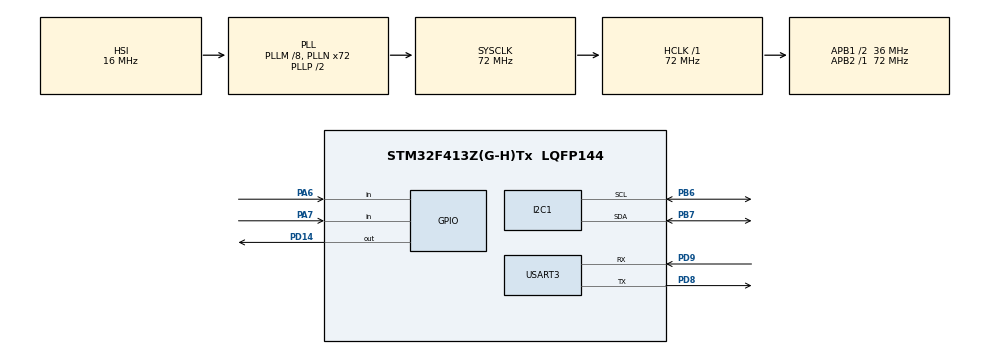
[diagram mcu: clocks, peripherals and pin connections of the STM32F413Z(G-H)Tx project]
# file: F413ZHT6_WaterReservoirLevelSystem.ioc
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FREERTOS.INCLUDE_vTaskDelayUntil=1
FREERTOS.Queues01=myQueue,16,uint16_t,0,Dynamic,NULL,NULL
FREERTOS.Tasks01=defaultTask,0,128,StartDefaultTask,Default,NULL,Dynamic,NULL,NULL
FREERTOS.configUSE_NEWLIB_REENTRANT=1
Mcu.Family=STM32F4
Mcu.Name=STM32F413Z(G-H)Tx
Mcu.Package=LQFP144
NVIC.PriorityGroup=NVIC_PRIORITYGROUP_4
NVIC.TIM6_DAC_IRQn=true\:15\:0\:false\:false\:true\:false\:false\:true\:true
NVIC.TimeBase=TIM6_DAC_IRQn
NVIC.TimeBaseIP=TIM6
PA13.Mode=Serial_Wire
PA13.Signal=SYS_JTMS-SWDIO
PA14.Mode=Serial_Wire
PA14.Signal=SYS_JTCK-SWCLK
PA6.Signal=GPIO_Input
PA7.Signal=GPIO_Input
PB6.Mode=I2C
PB6.Signal=I2C1_SCL
PB7.Mode=I2C
PB7.Signal=I2C1_SDA
PD14.Signal=GPIO_Output
PD8.Mode=Asynchronous
PD8.Signal=USART3_TX
PD9.Mode=Asynchronous
PD9.Signal=USART3_RX
PH0\ -\ OSC_IN.Mode=HSE-External-Oscillator
PH0\ -\ OSC_IN.Signal=RCC_OSC_IN
PH1\ -\ OSC_OUT.Mode=HSE-External-Oscillator
PH1\ -\ OSC_OUT.Signal=RCC_OSC_OUT
ProjectManager.HeapSize=0x200
ProjectManager.StackSize=0x400
ProjectManager.TargetToolchain=STM32CubeIDE
RCC.AHBFreq_Value=72000000
RCC.APB1CLKDivider=RCC_HCLK_DIV2
RCC.APB1Freq_Value=36000000
RCC.APB1TimFreq_Value=72000000
RCC.APB2Freq_Value=72000000
RCC.APB2TimFreq_Value=72000000
RCC.CortexFreq_Value=72000000
RCC.HCLKFreq_Value=72000000
RCC.PLLM=8
RCC.PLLN=72
RCC.SYSCLKFreq_VALUE=72000000
RCC.SYSCLKSource=RCC_SYSCLKSOURCE_PLLCLK
RCC.USBFreq_Value=72000000
RCC.VCOOutputFreq_Value=144000000
TIM1.Period=0xffff-1
TIM1.Prescaler=72-1
USART3.VirtualMode=VM_ASYNC
VP_FREERTOS_VS_CMSIS_V1.Mode=CMSIS_V1
VP_SYS_VS_tim6.Mode=TIM6
VP_TIM1_VS_ClockSourceINT.Mode=Internal
board=custom

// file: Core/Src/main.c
/* USER CODE BEGIN Header */
/**
  ******************************************************************************
  * @file           : main.c
  * @brief          : Main program body
  ******************************************************************************
  * @attention
  *
  * Copyright (c) 2022 STMicroelectronics.
  * All rights reserved.
  *
  * This software is licensed under terms that can be found in the LICENSE file
  * in the root directory of this software component.
  * If no LICENSE file comes with this software, it is provided AS-IS.
  *
  ******************************************************************************
  */
/* USER CODE END Header */
#include "main.h"
#include "cmsis_os.h"

/* USER CODE BEGIN Includes */
#include "stdio.h"
#include "time.h"
#include "stdlib.h"
#include "math.h"
/* USER CODE END Includes */

I2C_HandleTypeDef hi2c1;

TIM_HandleTypeDef htim1;

UART_HandleTypeDef huart3;

osThreadId defaultTaskHandle;
osMessageQId myQueueHandle;
/* USER CODE BEGIN PV */
#define TRIG_PIN GPIO_PIN_14
#define TRIG_PORT GPIOD
#define ECHO_PIN GPIO_PIN_7
#define ECHO_PORT GPIOA
#define Input_Pin GPIO_PIN_6
#define Input_Port GPIOA
uint32_t pMillis;
uint32_t Value3 = 0;
uint16_t Pulse_Count = 0;
uint32_t pMillis;
uint32_t Value1 = 0;
uint32_t Value2 = 0;
uint16_t Distance  = 0; // cm
char strCopy[15];
/* USER CODE END PV */

void SystemClock_Config(void);
static void MX_GPIO_Init(void);
static void MX_I2C1_Init(void);
static void MX_TIM1_Init(void);
static void MX_USART3_UART_Init(void);
void StartDefaultTask(void const * argument);

/* USER CODE BEGIN PFP */
#define BUFF_SZ 10
/* USER CODE END PFP */

/* USER CODE BEGIN 0 */
unsigned int USSevent_flag = 0;

int _write(int file, char *ptr, int len)
{
	/* Implement the write code here*/
	int i=0;
	for(i=0 ; i<len ; i++)
		ITM_SendChar((*ptr++));
	return len;
}

uint8_t indx = 0;

// define task handler
osThreadId WFSTaskhandler;
osThreadId USSTaskhandler;
osThreadId CommTaskhandler;

//define the entry function
void WFSTask_init (void const * argument);
void USSTask_init (void const * argument);
void CommTask_init (void const * argument);

/* USER CODE END 0 */

int main(void)
{

  /* MCU Configuration--------------------------------------------------------*/

  /* Reset of all peripherals, Initializes the Flash interface and the Systick. */
  HAL_Init();

  /* Configure the system clock */
  SystemClock_Config();

  /* Initialize all configured peripherals */
  MX_GPIO_Init();
  MX_I2C1_Init();
  MX_TIM1_Init();
  MX_USART3_UART_Init();
  /* USER CODE BEGIN 2 */
  printf("starting....\n");
  HAL_TIM_Base_Start(&htim1);
  HAL_GPIO_WritePin(TRIG_PORT, TRIG_PIN, GPIO_PIN_RESET);
  /* USER CODE END 2 */

  /* Create the queue(s) */
  /* definition and creation of myQueue */
  osMessageQDef(myQueue, 16, uint16_t);
  myQueueHandle = osMessageCreate(osMessageQ(myQueue), NULL);

  /* Create the thread(s) */
  /* definition and creation of defaultTask */
  osThreadDef(defaultTask, StartDefaultTask, osPriorityNormal, 0, 128);
  defaultTaskHandle = osThreadCreate(osThread(defaultTask), NULL);

  /* USER CODE BEGIN RTOS_THREADS */
  /* add threads, ... */

  // define the thread
  osThreadDef(WFSTask, WFSTask_init, osPriorityNormal, 0, 128);
  osThreadDef(USSTask, USSTask_init, osPriorityNormal, 0, 128);
  osThreadDef(CommsTask, CommTask_init, osPriorityNormal, 0, 128);

  // create thread and assign ID
  WFSTaskhandler = osThreadCreate(osThread(WFSTask), NULL);
  USSTaskhandler = osThreadCreate(osThread(USSTask), NULL);
  CommTaskhandler = osThreadCreate(osThread(CommsTask), NULL);

  /* USER CODE END RTOS_THREADS */

  /* Start scheduler */
  osKernelStart();

  /* We should never get here as control is now taken by the scheduler */
  /* Infinite loop */
  while (1)
  {

  }
}

void SystemClock_Config(void)
{
  RCC_OscInitTypeDef RCC_OscInitStruct = {0};
  RCC_ClkInitTypeDef RCC_ClkInitStruct = {0};

  /** Configure the main internal regulator output voltage
  */
  __HAL_RCC_PWR_CLK_ENABLE();
  __HAL_PWR_VOLTAGESCALING_CONFIG(PWR_REGULATOR_VOLTAGE_SCALE1);

  /** Initializes the RCC Oscillators according to the specified parameters
  * in the RCC_OscInitTypeDef structure.
  */
  RCC_OscInitStruct.OscillatorType = RCC_OSCILLATORTYPE_HSI;
  RCC_OscInitStruct.HSIState = RCC_HSI_ON;
  RCC_OscInitStruct.HSICalibrationValue = RCC_HSICALIBRATION_DEFAULT;
  RCC_OscInitStruct.PLL.PLLState = RCC_PLL_ON;
  RCC_OscInitStruct.PLL.PLLSource = RCC_PLLSOURCE_HSI;
  RCC_OscInitStruct.PLL.PLLM = 8;
  RCC_OscInitStruct.PLL.PLLN = 72;
  RCC_OscInitStruct.PLL.PLLP = RCC_PLLP_DIV2;
  RCC_OscInitStruct.PLL.PLLQ = 2;
  RCC_OscInitStruct.PLL.PLLR = 2;
  if (HAL_RCC_OscConfig(&RCC_OscInitStruct) != HAL_OK)
  {
    Error_Handler();
  }

  /** Initializes the CPU, AHB and APB buses clocks
  */
  RCC_ClkInitStruct.ClockType = RCC_CLOCKTYPE_HCLK|RCC_CLOCKTYPE_SYSCLK
                              |RCC_CLOCKTYPE_PCLK1|RCC_CLOCKTYPE_PCLK2;
  RCC_ClkInitStruct.SYSCLKSource = RCC_SYSCLKSOURCE_PLLCLK;
  RCC_ClkInitStruct.AHBCLKDivider = RCC_SYSCLK_DIV1;
  RCC_ClkInitStruct.APB1CLKDivider = RCC_HCLK_DIV2;
  RCC_ClkInitStruct.APB2CLKDivider = RCC_HCLK_DIV1;

  if (HAL_RCC_ClockConfig(&RCC_ClkInitStruct, FLASH_LATENCY_2) != HAL_OK)
  {
    Error_Handler();
  }
}

static void MX_I2C1_Init(void)
{

  hi2c1.Instance = I2C1;
  hi2c1.Init.ClockSpeed = 100000;
  hi2c1.Init.DutyCycle = I2C_DUTYCYCLE_2;
  hi2c1.Init.OwnAddress1 = 0;
  hi2c1.Init.AddressingMode = I2C_ADDRESSINGMODE_7BIT;
  hi2c1.Init.DualAddressMode = I2C_DUALADDRESS_DISABLE;
  hi2c1.Init.OwnAddress2 = 0;
  hi2c1.Init.GeneralCallMode = I2C_GENERALCALL_DISABLE;
  hi2c1.Init.NoStretchMode = I2C_NOSTRETCH_DISABLE;
  if (HAL_I2C_Init(&hi2c1) != HAL_OK)
  {
    Error_Handler();
  }

}

static void MX_TIM1_Init(void)
{

  TIM_ClockConfigTypeDef sClockSourceConfig = {0};
  TIM_MasterConfigTypeDef sMasterConfig = {0};

  htim1.Instance = TIM1;
  htim1.Init.Prescaler = 72-1;
  htim1.Init.CounterMode = TIM_COUNTERMODE_UP;
  htim1.Init.Period = 0xffff-1;
  htim1.Init.ClockDivision = TIM_CLOCKDIVISION_DIV1;
  htim1.Init.RepetitionCounter = 0;
  htim1.Init.AutoReloadPreload = TIM_AUTORELOAD_PRELOAD_DISABLE;
  if (HAL_TIM_Base_Init(&htim1) != HAL_OK)
  {
    Error_Handler();
  }
  sClockSourceConfig.ClockSource = TIM_CLOCKSOURCE_INTERNAL;
  if (HAL_TIM_ConfigClockSource(&htim1, &sClockSourceConfig) != HAL_OK)
  {
    Error_Handler();
  }
  sMasterConfig.MasterOutputTrigger = TIM_TRGO_RESET;
  sMasterConfig.MasterSlaveMode = TIM_MASTERSLAVEMODE_DISABLE;
  if (HAL_TIMEx_MasterConfigSynchronization(&htim1, &sMasterConfig) != HAL_OK)
  {
    Error_Handler();
  }

}

static void MX_USART3_UART_Init(void)
{

  huart3.Instance = USART3;
  huart3.Init.BaudRate = 115200;
  huart3.Init.WordLength = UART_WORDLENGTH_8B;
  huart3.Init.StopBits = UART_STOPBITS_1;
  huart3.Init.Parity = UART_PARITY_NONE;
  huart3.Init.Mode = UART_MODE_TX_RX;
  huart3.Init.HwFlowCtl = UART_HWCONTROL_NONE;
  huart3.Init.OverSampling = UART_OVERSAMPLING_16;
  if (HAL_UART_Init(&huart3) != HAL_OK)
  {
    Error_Handler();
  }

}

static void MX_GPIO_Init(void)
{
  GPIO_InitTypeDef GPIO_InitStruct = {0};

  /* GPIO Ports Clock Enable */
  __HAL_RCC_GPIOH_CLK_ENABLE();
  __HAL_RCC_GPIOA_CLK_ENABLE();
  __HAL_RCC_GPIOD_CLK_ENABLE();
  __HAL_RCC_GPIOB_CLK_ENABLE();

  /*Configure GPIO pin Output Level */
  HAL_GPIO_WritePin(GPIOD, GPIO_PIN_14, GPIO_PIN_RESET);

  /*Configure GPIO pins : PA6 PA7 */
  GPIO_InitStruct.Pin = GPIO_PIN_6|GPIO_PIN_7;
  GPIO_InitStruct.Mode = GPIO_MODE_INPUT;
  GPIO_InitStruct.Pull = GPIO_NOPULL;
  HAL_GPIO_Init(GPIOA, &GPIO_InitStruct);

  /*Configure GPIO pin : PD14 */
  GPIO_InitStruct.Pin = GPIO_PIN_14;
  GPIO_InitStruct.Mode = GPIO_MODE_OUTPUT_PP;
  GPIO_InitStruct.Pull = GPIO_NOPULL;
  GPIO_InitStruct.Speed = GPIO_SPEED_FREQ_LOW;
  HAL_GPIO_Init(GPIOD, &GPIO_InitStruct);

}

void StartDefaultTask(void const * argument)
{
  /* USER CODE BEGIN 5 */
  /* Infinite loop */
  for(;;)
  {
	  printf("DefaultTask\n");
    osDelay(1000);
  }
  /* USER CODE END 5 */
}

void USSTask_init(void const * argument)
{
  /* USER CODE BEGIN 5 */
  /* Infinite loop */
  for(;;)
  {
	  if(USSevent_flag == 1){
	  	HAL_GPIO_WritePin(TRIG_PORT, TRIG_PIN, GPIO_PIN_SET);  // pull the TRIG pin HIGH
	  	__HAL_TIM_SET_COUNTER(&htim1, 0);
	  	while (__HAL_TIM_GET_COUNTER (&htim1) < 20);  // wait for 20 us
	  	HAL_GPIO_WritePin(TRIG_PORT, TRIG_PIN, GPIO_PIN_RESET);  // pull the TRIG pin low

	  	pMillis = HAL_GetTick(); // used this to avoid infinite while loop  (for timeout)
	  	 // wait for the echo pin to go high
	  	while (!(HAL_GPIO_ReadPin (ECHO_PORT, ECHO_PIN)) && pMillis + 10 >  HAL_GetTick());
	  	Value1 = __HAL_TIM_GET_COUNTER (&htim1);

	  	pMillis = HAL_GetTick(); // used this to avoid infinite while loop (for timeout)
	  	 // wait for the echo pin to go low
	  	while ((HAL_GPIO_ReadPin (ECHO_PORT, ECHO_PIN)) && pMillis + 50 > HAL_GetTick());
	  	Value2 = __HAL_TIM_GET_COUNTER (&htim1);

	  	Distance = (Value2-Value1)* 0.034/2;
	  	osMessagePut(myQueueHandle, Distance, 1000);

	  	USSevent_flag = USSevent_flag ^ 1;
	  }
		taskYIELD();

  }
  /* USER CODE END 5 */
}
void WFSTask_init(void const * argument)
{
  /* USER CODE BEGIN 5 */
	TickType_t tickCount;
	TickType_t frequency = 2000;
	tickCount = xTaskGetTickCount();

  /* Infinite loop */
  for(;;)
  {
	 for(;;)
	  {
	   GPIO_PinState Value3 = HAL_GPIO_ReadPin(Input_Port, Input_Pin);
	   osDelay(1000);
	   GPIO_PinState Value4 = HAL_GPIO_ReadPin(Input_Port, Input_Pin);
	   if(Value3 != Value4){
	  	   USSevent_flag = USSevent_flag | 1;
	  	   break;
	  }
	 }
	  vTaskDelayUntil( &tickCount, frequency );
  }
  /* USER CODE END 5 */
}
void CommTask_init(void const * argument)
{
  /* USER CODE BEGIN 5 */
  /* Infinite loop */
	osEvent readState;
	uint8_t msg[BUFF_SZ] = {0};
	uint8_t padding[BUFF_SZ] = {0};
	char padding_character = '0';
  for(;;)
  {
	readState = osMessageGet(myQueueHandle, osWaitForever);
	if(readState.status == osEventMessage){
		int r = (int)readState.value.v;
		int l = (r == 0)? 1 : log10(r)+1;
		sprintf ((char *)msg, "%s%i\r\n", (char *)memset(padding, padding_character, BUFF_SZ -l), r);
		HAL_UART_Transmit(&huart3, msg, sizeof(msg), 100);
	}
	HAL_Delay(2000);
	memset(padding, 0, BUFF_SZ);
  }
  /* USER CODE END 5 */
}
void HAL_TIM_PeriodElapsedCallback(TIM_HandleTypeDef *htim)
{
  if (htim->Instance == TIM6) {
    HAL_IncTick();
  }
}

void Error_Handler(void)
{
  __disable_irq();
  while (1)
  {
  }
}

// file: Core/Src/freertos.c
/* USER CODE BEGIN Header */
/**
 ******************************************************************************
 * File Name          : freertos.c
 * Description        : Code for freertos applications
 ******************************************************************************
 * @attention
 *
 * Copyright (c) 2022 STMicroelectronics.
 * All rights reserved.
 *
 * This software is licensed under terms that can be found in the LICENSE file
 * in the root directory of this software component.
 * If no LICENSE file comes with this software, it is provided AS-IS.
 *
 ******************************************************************************
 */
/* USER CODE END Header */

#include "FreeRTOS.h"
#include "task.h"
#include "main.h"

/* GetIdleTaskMemory prototype (linked to static allocation support) */
void vApplicationGetIdleTaskMemory(StaticTask_t **ppxIdleTaskTCBBuffer,
		StackType_t **ppxIdleTaskStackBuffer, uint32_t *pulIdleTaskStackSize);

/* USER CODE BEGIN GET_IDLE_TASK_MEMORY */
static StaticTask_t xIdleTaskTCBBuffer;
static StackType_t xIdleStack[configMINIMAL_STACK_SIZE];

void vApplicationGetIdleTaskMemory(StaticTask_t **ppxIdleTaskTCBBuffer,
		StackType_t **ppxIdleTaskStackBuffer, uint32_t *pulIdleTaskStackSize) {
	*ppxIdleTaskTCBBuffer = &xIdleTaskTCBBuffer;
	*ppxIdleTaskStackBuffer = &xIdleStack[0];
	*pulIdleTaskStackSize = configMINIMAL_STACK_SIZE;
	/* place for user code */
}
/* USER CODE END GET_IDLE_TASK_MEMORY */
